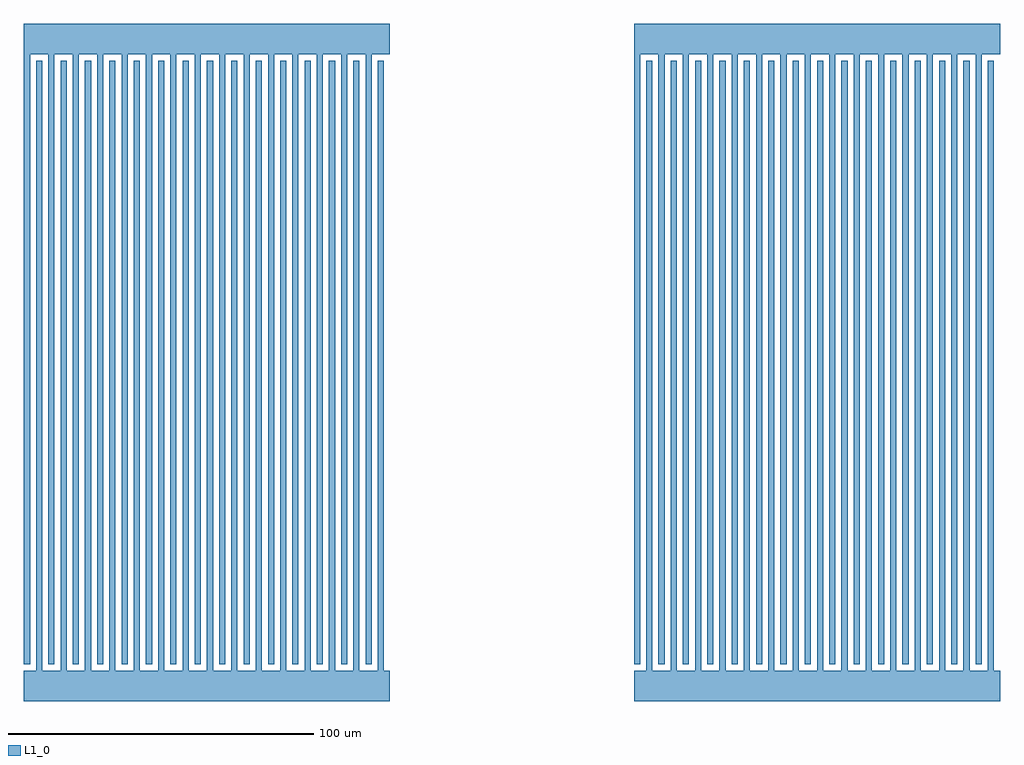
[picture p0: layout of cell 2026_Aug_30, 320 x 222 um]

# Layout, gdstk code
import gdstk
lib = gdstk.Library(unit=1e-6, precision=1e-09)
def R(c, l, rs):  # rectangles x0, y0, x1, y1
    for r in rs: c.add(gdstk.rectangle(r[:2], r[2:], *l))
def A(c, l, x, y, w, h, nx, ny, dx, dy):  # array of equal rectangles
    R(c, l, [(x+i*dx, y+j*dy, x+i*dx+w, y+j*dy+h) for i in range(nx) for j in range(ny)])
L1_0 = (1, 0)

c_2026_aug_30 = lib.new_cell('2026_Aug_30')
A(c_2026_aug_30, L1_0, 0, 0, 8, 10, 15, 2, 8, 212)
A(c_2026_aug_30, L1_0, 200, 0, 8, 10, 15, 2, 8, 212)
A(c_2026_aug_30, L1_0, 4, 10, 2, 200, 15, 1, 8, 0)
A(c_2026_aug_30, L1_0, 204, 10, 2, 200, 15, 1, 8, 0)
A(c_2026_aug_30, L1_0, 0, 12, 2, 200, 15, 1, 8, 0)
A(c_2026_aug_30, L1_0, 200, 12, 2, 200, 15, 1, 8, 0)

lib.write_gds('2026_Aug_30.gds')
